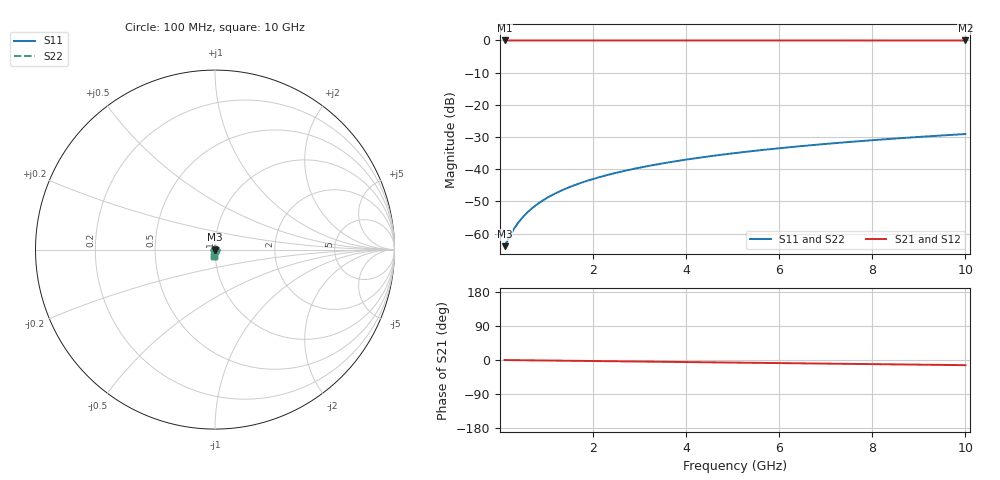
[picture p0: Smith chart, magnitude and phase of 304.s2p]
# Hz S RI R 50.00
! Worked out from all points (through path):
!   100 points, 100 MHz to 10 GHz, reference 50 ohm
!   highest |S21| = 0.00 dB at 100 MHz (marker M1); lowest = 0.0 dB at 10 GHz (marker M2)
!   group delay of S21, straight-line fit = 3.79 ps
!   lowest |S11| = -63.9 dB at 100 MHz (marker M3), VSWR 1.00, Z = 50.1 - j0.0352 ohm
!   |S11| at or under -10 dB: start of sweep to end of sweep
!   |S22| runs from -63.9 to -29.1 dB; largest |S21 - S12| = 0
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1e8  0.000532 -0.000351  0.9995 -0.00236  0.9995 -0.00236  0.000532 -0.000351
2e8  0.000532 -0.000703  0.9994 -0.00472  0.9994 -0.00472  0.000532 -0.000703
3e8  0.000529 -0.00105  0.9994 -0.00707  0.9994 -0.00707  0.000529 -0.00105
4e8  0.000524 -0.00141  0.9994 -0.00943  0.9994 -0.00943  0.000524 -0.00141
5e8  0.000517 -0.00176  0.9994 -0.0118  0.9994 -0.0118  0.000517 -0.00176
6e8  0.000509 -0.00211  0.9993 -0.0141  0.9993 -0.0141  0.000509 -0.00211
7e8  0.000498 -0.00246  0.9993 -0.0165  0.9993 -0.0165  0.000498 -0.00246
9e8  0.000472 -0.00316  0.9992 -0.0212  0.9992 -0.0212  0.000472 -0.00316
1e9  0.000456 -0.00352  0.9991 -0.0236  0.9991 -0.0236  0.000456 -0.00352
1.2e9  0.000419 -0.00422  0.999 -0.0283  0.999 -0.0283  0.000419 -0.00422
1.5e9  0.000351 -0.00528  0.9988 -0.0354  0.9988 -0.0354  0.000351 -0.00528
1.8e9  0.000268 -0.00633  0.9985 -0.0425  0.9985 -0.0425  0.000268 -0.00633
2.1e9  0.000169 -0.00739  0.9982 -0.0495  0.9982 -0.0495  0.000169 -0.00739
2.5e9  1.39e-05 -0.0088  0.9976 -0.059  0.9976 -0.059  1.39e-05 -0.0088
2.9e9  -0.000168 -0.0102  0.997 -0.0684  0.997 -0.0684  -0.000168 -0.0102
3.4e9  -0.000434 -0.012  0.9961 -0.0802  0.9961 -0.0802  -0.000434 -0.012
4.2e9  -0.000946 -0.0148  0.9943 -0.0991  0.9943 -0.0991  -0.000946 -0.0148
5.1e9  -0.00165 -0.0179  0.9919 -0.1204  0.9919 -0.1204  -0.00165 -0.0179
5.9e9  -0.00239 -0.0207  0.9894 -0.1393  0.9894 -0.1393  -0.00239 -0.0207
6.7e9  -0.00324 -0.0234  0.9864 -0.1581  0.9864 -0.1581  -0.00324 -0.0234
8.4e9  -0.00539 -0.0291  0.979 -0.1981  0.979 -0.1981  -0.00539 -0.0291
1e10  -0.00783 -0.0343  0.9704 -0.2356  0.9704 -0.2356  -0.00783 -0.0343
